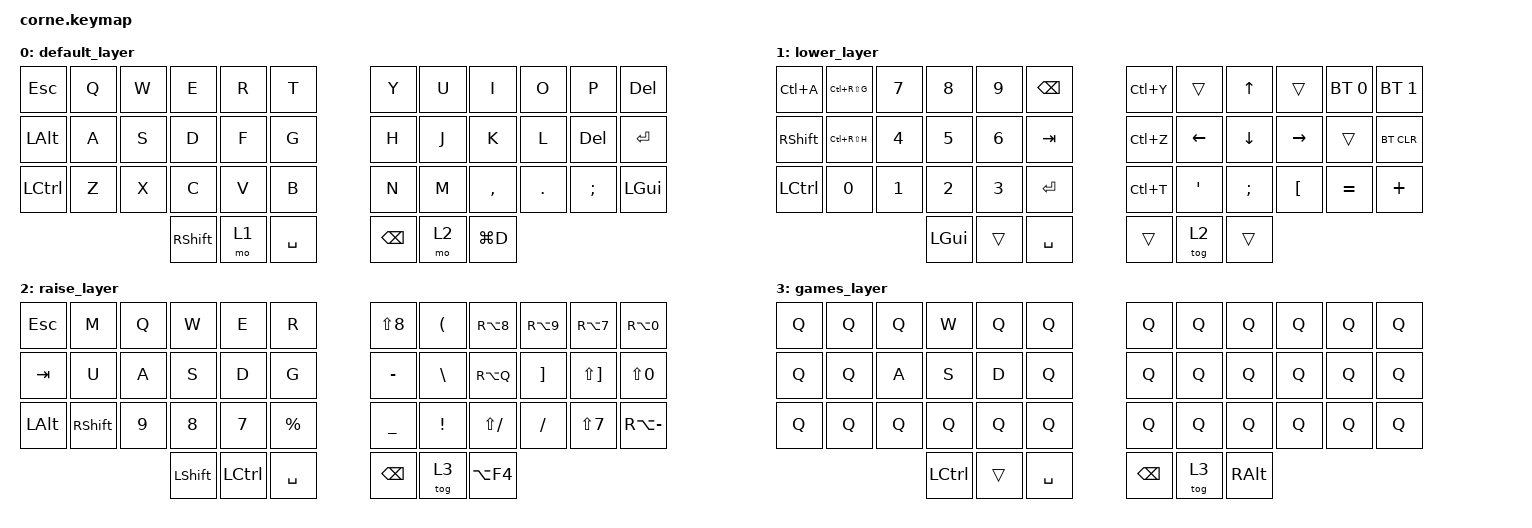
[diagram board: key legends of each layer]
/*
 * Copyright (c) 2020 The ZMK Contributors
 *
 * SPDX-License-Identifier: MIT
 */

#include <behaviors.dtsi>
#include <dt-bindings/zmk/keys.h>
#include <dt-bindings/zmk/bt.h>
#define default_layer 	0
#define lower_layer 	1 
#define raise_layer 	2
#define games_layer 	3 

/ {
        keymap {
                compatible = "zmk,keymap";

                default_layer {
// -----------------------------------------------------------------------------------------
// |  TAB |  Q  |  W  |  E  |  R  |  T  |   |  Y  |  U   |  I  |  O  |  P  | BKSP |
// | CTRL |  A  |  S  |  D  |  F  |  G  |   |  H  |  J   |  K  |  L  |  ;  |  '   |
// | SHFT |  Z  |  X  |  C  |  V  |  B  |   |  N  |  M   |  ,  |  .  |  /  | ESC  |
//                    | GUI | LWR | SPC |   | ENT | RSE  | ALT |
                        bindings = <
   &kp ESC    &kp Q       &kp W      &kp E        &kp R      &kp T       &kp Y     &kp U    &kp I           &kp O     &kp P     &kp DEL
   &kp LALT   &kp A       &kp S      &kp D        &kp F      &kp G       &kp H     &kp J    &kp K           &kp L     &kp DEL   &kp RET
   &kp LCTRL  &kp Z       &kp X      &kp C        &kp V      &kp B       &kp N     &kp M    &kp COMMA       &kp DOT   &kp SEMI  &kp LGUI
                                     &kp RSHFT    &mo 1      &kp SPACE   &kp BSPC  &mo 2    &kp LG(D)
                        >;
                };

                lower_layer {
// -----------------------------------------------------------------------------------------
// |  TAB |  1  |  2  |  3  |  4  |  5  |   |  6  |  7  |  8  |  9  |  0  | BKSP |
// | BTCLR| BT1 | BT2 | BT3 | BT4 | BT5 |   | LFT | DWN |  UP | RGT |     |      |
// | SHFT |     |     |     |     |     |   |     |     |     |     |     |      |
//                    | GUI |     | SPC |   | ENT |     | ALT |
                        bindings = <
   &kp LC(A)  &kp LC(RS(G))  &kp N7     &kp N8       &kp N9     &kp BSPC    &kp LC(Y)  &trans    &kp UP       &trans          &bt BT_SEL 0    &bt BT_SEL 1
   &kp RSHFT  &kp LC(RS(H))  &kp N4     &kp N5	     &kp N6     &kp TAB     &kp LC(Z)  &kp LEFT  &kp DOWN     &kp RIGHT       &trans          &bt BT_CLR
   &kp LCTRL  &kp N0         &kp N1     &kp N2       &kp N3     &kp RET     &kp LC(T)  &kp SQT   &kp SEMI     &kp LBKT        &kp EQUAL       &kp PLUS       
                                        &kp LGUI     &trans     &kp SPACE   &trans     &tog 2    &trans
                        >;
                };

                raise_layer {
// -----------------------------------------------------------------------------------------
// |  TAB |  !  |  @  |  #  |  $  |  %  |   |  ^  |  &  |  *  |  (  |  )  | BKSP |
// | CTRL |     |     |     |     |     |   |  -  |  =  |  [  |  ]  |  \  |  `   |
// | SHFT |     |     |     |     |     |   |  _  |  +  |  {  |  }  | "|" |  ~   |
//                    | GUI |     | SPC |   | ENT |     | ALT |
                        bindings = <
   &kp ESC    &kp M      &kp Q      &kp W      &kp E      &kp R       &kp LS(N8)            &kp LEFT_PARENTHESIS   &kp RA(N8)             &kp RA(N9)            &kp RA(N7)            &kp RA(N0)       
   &kp TAB    &kp U      &kp A      &kp S      &kp D      &kp G       &kp MINUS             &kp BSLH               &kp RA(Q)              &kp RBKT              &kp LS(RBKT)          &kp LS(N0)       
   &kp LALT   &kp RSHFT  &kp N9     &kp N8     &kp N7     &kp PRCNT   &kp UNDER             &kp EXCL               &kp LS(SLASH)          &kp SLASH             &kp LS(N7)            &kp RA(MINUS)    
                         	    &kp LSHFT  &kp LCTRL  &kp SPACE   &kp BSPC              &tog 3                 &kp LA(F4)
                        >;
                };

                 games_layer {
// -----------------------------------------------------------------------------------------
// |  TAB |  !  |  @  |  #  |  $  |  %  |   |  ^  |  &  |  *  |  (  |  )  | BKSP |
// | CTRL |     |     |     |     |     |   |  -  |  =  |  [  |  ]  |  \  |  `   |
// | SHFT |     |     |     |     |     |   |  _  |  +  |  {  |  }  | "|" |  ~   |
//                    | GUI |     | SPC |   | ENT |     | ALT |
                        bindings = <
   &kp Q       &kp Q       &kp Q       &kp W      &kp Q       &kp Q       &kp Q       &kp Q       &kp Q       &kp Q       &kp Q       &kp Q       
   &kp Q       &kp Q       &kp A       &kp S      &kp D       &kp Q       &kp Q       &kp Q       &kp Q       &kp Q       &kp Q       &kp Q       
   &kp Q       &kp Q       &kp Q       &kp Q      &kp Q       &kp Q       &kp Q       &kp Q       &kp Q       &kp Q       &kp Q       &kp Q       
                         	       &kp LCTRL  &trans      &kp SPACE   &kp BSPC    &tog 3      &kp RALT
                        >;
                };
        };
};
